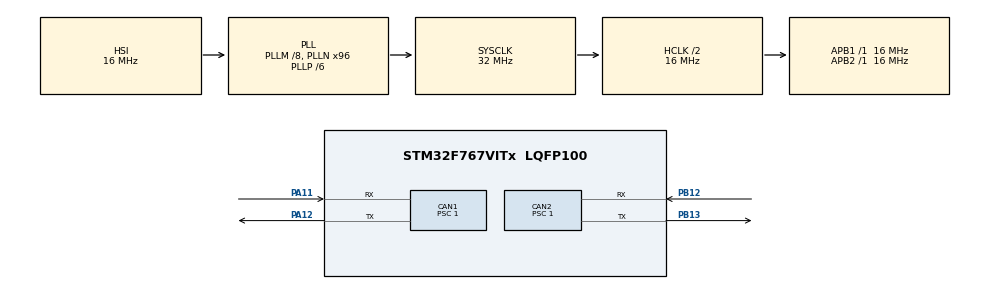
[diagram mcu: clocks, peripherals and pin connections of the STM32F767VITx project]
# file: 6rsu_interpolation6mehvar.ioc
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CAN1.BS1=CAN_BS1_14TQ
CAN1.CalculateBaudRate=1000000
CAN1.CalculateTimeBit=1000
CAN1.CalculateTimeQuantum=62.5
CAN1.Prescaler=1
CAN2.BS1=CAN_BS1_14TQ
CAN2.CalculateBaudRate=1000000
CAN2.CalculateTimeBit=1000
CAN2.CalculateTimeQuantum=62.5
CAN2.Prescaler=1
Mcu.Family=STM32F7
Mcu.Name=STM32F767VITx
Mcu.Package=LQFP100
NVIC.CAN1_RX0_IRQn=true\:0\:0\:false\:false\:true\:true\:true\:true
NVIC.CAN1_RX1_IRQn=true\:0\:0\:false\:false\:true\:true\:true\:true
NVIC.CAN1_SCE_IRQn=true\:0\:0\:false\:false\:true\:true\:true\:true
NVIC.CAN1_TX_IRQn=true\:0\:0\:false\:false\:true\:true\:true\:true
NVIC.CAN2_RX0_IRQn=true\:0\:0\:false\:false\:true\:true\:true\:true
NVIC.CAN2_RX1_IRQn=true\:0\:0\:false\:false\:true\:true\:true\:true
NVIC.CAN2_SCE_IRQn=true\:0\:0\:false\:false\:true\:true\:true\:true
NVIC.CAN2_TX_IRQn=true\:0\:0\:false\:false\:true\:true\:true\:true
NVIC.PriorityGroup=NVIC_PRIORITYGROUP_4
NVIC.TIM8_TRG_COM_TIM14_IRQn=true\:0\:0\:false\:false\:true\:true\:true\:true
PA11.Mode=CAN_Activate
PA11.Signal=CAN1_RX
PA12.Mode=CAN_Activate
PA12.Signal=CAN1_TX
PA13.Mode=Serial_Wire
PA13.Signal=SYS_JTMS-SWDIO
PA14.Mode=Serial_Wire
PA14.Signal=SYS_JTCK-SWCLK
PB12.Mode=CAN_Activate
PB12.Signal=CAN2_RX
PB13.Mode=CAN_Activate
PB13.Signal=CAN2_TX
PH0/OSC_IN.Mode=HSE-External-Oscillator
PH0/OSC_IN.Signal=RCC_OSC_IN
PH1/OSC_OUT.Mode=HSE-External-Oscillator
PH1/OSC_OUT.Signal=RCC_OSC_OUT
ProjectManager.HeapSize=0x200
ProjectManager.StackSize=0x400
ProjectManager.TargetToolchain=STM32CubeIDE
RCC.AHBCLKDivider=RCC_SYSCLK_DIV2
RCC.AHBFreq_Value=16000000
RCC.APB1Freq_Value=16000000
RCC.APB1TimFreq_Value=16000000
RCC.APB2Freq_Value=16000000
RCC.APB2TimFreq_Value=16000000
RCC.CortexFreq_Value=16000000
RCC.HCLKFreq_Value=16000000
RCC.HSE_VALUE=25000000
RCC.HSI_VALUE=16000000
RCC.LSE_VALUE=32768
RCC.PLLM=8
RCC.PLLN=96
RCC.PLLP=RCC_PLLP_DIV6
RCC.SYSCLKFreq_VALUE=32000000
RCC.SYSCLKSource=RCC_SYSCLKSOURCE_PLLCLK
RCC.USBFreq_Value=96000000
RCC.VCOOutputFreq_Value=192000000
TIM14.Period=999
TIM14.Prescaler=15
VP_TIM14_VS_ClockSourceINT.Mode=Enable_Timer
board=custom

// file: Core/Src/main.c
/* USER CODE BEGIN Header */
/**
  ******************************************************************************
  * @file           : main.c
  * @brief          : Main program body
  ******************************************************************************
  * @attention
  *
  * Copyright (c) 2024 STMicroelectronics.
  * All rights reserved.
  *
  * This software is licensed under terms that can be found in the LICENSE file
  * in the root directory of this software component.
  * If no LICENSE file comes with this software, it is provided AS-IS.
  *
  ******************************************************************************
  */
/* USER CODE END Header */
#include "main.h"

/* USER CODE BEGIN Includes */
#include "CO_app_STM32.h"
#include "CANopen.h"
#include "../CANopenNode/301/CO_SDOclient.h"
#include "../CANopenNode/301/CO_NMT_Heartbeat.h"
#include "../CANopenNode/301/CO_PDO.h"
#include "OD.h"
#include "math.h"

/* USER CODE END Includes */

CAN_HandleTypeDef hcan1;
CAN_HandleTypeDef hcan2;

TIM_HandleTypeDef htim14;

void SystemClock_Config(void);
static void MX_GPIO_Init(void);
static void MX_CAN1_Init(void);
static void MX_CAN2_Init(void);
static void MX_TIM14_Init(void);

/* USER CODE BEGIN 0 */
CO_SDO_abortCode_t read_SDO(CO_SDOclient_t *SDO_C, uint8_t nodeId,
                            uint16_t index, uint8_t subIndex,
                            uint8_t *buf, size_t bufSize, size_t *readSize)
{
    CO_SDO_return_t SDO_ret;

    // setup client (this can be skipped, if remote device don't change)
    SDO_ret = CO_SDOclient_setup(SDO_C,
                                 CO_CAN_ID_SDO_CLI + nodeId,
                                 CO_CAN_ID_SDO_SRV + nodeId,
                                 nodeId);
    if (SDO_ret != CO_SDO_RT_ok_communicationEnd) {
        return CO_SDO_AB_GENERAL;
    }

    // initiate upload
    SDO_ret = CO_SDOclientUploadInitiate(SDO_C, index, subIndex, 1000, false);
    if (SDO_ret != CO_SDO_RT_ok_communicationEnd) {
        return CO_SDO_AB_GENERAL;
    }

    // upload data
    do {
        uint32_t timeDifference_us = 10000;
        CO_SDO_abortCode_t abortCode = CO_SDO_AB_NONE;

        SDO_ret = CO_SDOclientUpload(SDO_C,
                                     timeDifference_us,
                                     false,
                                     &abortCode,
                                     NULL, NULL, NULL);
        if (SDO_ret < 0) {
            return abortCode;
        }

        HAL_Delay(1);
    } while(SDO_ret > 0);

    // copy data to the user buffer (for long data function must be called
    // several times inside the loop)
    *readSize = CO_SDOclientUploadBufRead(SDO_C, buf, bufSize);

    return CO_SDO_AB_NONE;
}

CO_SDO_abortCode_t write_SDO(CO_SDOclient_t *SDO_C, uint8_t nodeId,
                             uint16_t index, uint8_t subIndex,
                             uint8_t *data, size_t dataSize)
{
    CO_SDO_return_t SDO_ret;
    bool_t bufferPartial = false;

    // setup client (this can be skipped, if remote device is the same)
    SDO_ret = CO_SDOclient_setup(SDO_C,
                                 CO_CAN_ID_SDO_CLI + nodeId,
                                 CO_CAN_ID_SDO_SRV + nodeId,
                                 nodeId);
    if (SDO_ret != CO_SDO_RT_ok_communicationEnd) {
        return -1;
    }

    // initiate download
    SDO_ret = CO_SDOclientDownloadInitiate(SDO_C, index, subIndex,
                                           dataSize, 1000, false);
    if (SDO_ret != CO_SDO_RT_ok_communicationEnd) {
        return -1;
    }

    // fill data
    size_t nWritten = CO_SDOclientDownloadBufWrite(SDO_C, data, dataSize);
    if (nWritten < dataSize) {
        bufferPartial = true;
        // If SDO Fifo buffer is too small, data can be refilled in the loop.
    }

    //download data
    do {
        uint32_t timeDifference_us = 10000;
        CO_SDO_abortCode_t abortCode = CO_SDO_AB_NONE;

        SDO_ret = CO_SDOclientDownload(SDO_C,
                                       timeDifference_us,
                                       false,
                                       bufferPartial,
                                       &abortCode,
                                       NULL, NULL);
        if (SDO_ret < 0) {
            return abortCode;
        }

        HAL_Delay(1);
    } while(SDO_ret > 0);

    return CO_SDO_AB_NONE;
}

/* USER CODE END 0 */

int main(void)
{
  /* USER CODE BEGIN 1 */
	  int i=0;
	  int s = 4500000;
	  int16_t next;
	  int16_t prev;
	  int32_t xi;
  /* USER CODE END 1 */

  /* MCU Configuration--------------------------------------------------------*/

  /* Reset of all peripherals, Initializes the Flash interface and the Systick. */
  HAL_Init();

  /* Configure the system clock */
  SystemClock_Config();

  /* Initialize all configured peripherals */
  MX_GPIO_Init();
  MX_CAN1_Init();
  MX_CAN2_Init();
  MX_TIM14_Init();
  /* USER CODE BEGIN 2 */
  CANopenNodeSTM32 canopenNodeSTM32;
    canopenNodeSTM32.CANHandle = &hcan2;
    canopenNodeSTM32.HWInitFunction = MX_CAN2_Init;
    canopenNodeSTM32.timerHandle = &htim14;
    canopenNodeSTM32.desiredNodeID = 7;
    canopenNodeSTM32.baudrate = 1000;
    canopen_app_init(&canopenNodeSTM32);

    uint16_t tmp1 = 0x80;
    uint16_t tmp2 = 0x00;
    uint16_t tmp3 = 0x06;
    uint16_t tmp4 = 0x07;
    uint16_t tmp5 = 0x0F;

    int8_t interpolation_mode = 0x07;

    int16_t intrpolation_sub_mode_select = 0;

    uint8_t interpolation_time_unit = 10;
    int8_t interpolation_time_index = -3;

//control_word for node 1(Gearbox1)...............................................................

    write_SDO(canopenNodeSTM32.canOpenStack->SDOclient , 1, 0x6040, 00, &tmp1, 2);
    HAL_Delay(10);
    write_SDO(canopenNodeSTM32.canOpenStack->SDOclient , 1, 0x6040, 00, &tmp2, 2);
    HAL_Delay(10);
    write_SDO(canopenNodeSTM32.canOpenStack->SDOclient , 1, 0x6040, 00, &tmp3, 2);
    HAL_Delay(10);
    write_SDO(canopenNodeSTM32.canOpenStack->SDOclient , 1, 0x6040, 00, &tmp4, 2);
    HAL_Delay(10);
    write_SDO(canopenNodeSTM32.canOpenStack->SDOclient , 1, 0x6040, 00, &tmp5, 2);
    HAL_Delay(10);

    write_SDO(canopenNodeSTM32.canOpenStack->SDOclient , 1, 0x6060, 00, &interpolation_mode, 1);
    HAL_Delay(10);
    write_SDO(canopenNodeSTM32.canOpenStack->SDOclient , 1, 0x60C0, 00, &intrpolation_sub_mode_select, 2);
    HAL_Delay(10);
    write_SDO(canopenNodeSTM32.canOpenStack->SDOclient , 1, 0x60C2, 0x01, &interpolation_time_unit, 1);
    HAL_Delay(10);
    write_SDO(canopenNodeSTM32.canOpenStack->SDOclient , 1, 0x60C2, 0x02, &interpolation_time_index, 1);

    //control_word for node 2(Gearbox2)...............................................................

    write_SDO(canopenNodeSTM32.canOpenStack->SDOclient , 2, 0x6040, 00, &tmp1, 2);
    HAL_Delay(10);
    write_SDO(canopenNodeSTM32.canOpenStack->SDOclient , 2, 0x6040, 00, &tmp2, 2);
    HAL_Delay(10);
    write_SDO(canopenNodeSTM32.canOpenStack->SDOclient , 2, 0x6040, 00, &tmp3, 2);
    HAL_Delay(10);
    write_SDO(canopenNodeSTM32.canOpenStack->SDOclient , 2, 0x6040, 00, &tmp4, 2);
    HAL_Delay(10);
    write_SDO(canopenNodeSTM32.canOpenStack->SDOclient , 2, 0x6040, 00, &tmp5, 2);
    HAL_Delay(10);

    write_SDO(canopenNodeSTM32.canOpenStack->SDOclient , 2, 0x6060, 00, &interpolation_mode, 1);
    HAL_Delay(10);
    write_SDO(canopenNodeSTM32.canOpenStack->SDOclient , 2, 0x60C0, 00, &intrpolation_sub_mode_select, 2);
    HAL_Delay(10);
    write_SDO(canopenNodeSTM32.canOpenStack->SDOclient , 2, 0x60C2, 0x01, &interpolation_time_unit, 1);
    HAL_Delay(10);
    write_SDO(canopenNodeSTM32.canOpenStack->SDOclient , 2, 0x60C2, 0x02, &interpolation_time_index, 1);

    //control_word for node 3(Gearbox3)...............................................................

    write_SDO(canopenNodeSTM32.canOpenStack->SDOclient , 3, 0x6040, 00, &tmp1, 2);
    HAL_Delay(10);
    write_SDO(canopenNodeSTM32.canOpenStack->SDOclient , 3, 0x6040, 00, &tmp2, 2);
    HAL_Delay(10);
    write_SDO(canopenNodeSTM32.canOpenStack->SDOclient , 3, 0x6040, 00, &tmp3, 2);
    HAL_Delay(10);
    write_SDO(canopenNodeSTM32.canOpenStack->SDOclient , 3, 0x6040, 00, &tmp4, 2);
    HAL_Delay(10);
    write_SDO(canopenNodeSTM32.canOpenStack->SDOclient , 3, 0x6040, 00, &tmp5, 2);
    HAL_Delay(10);

    write_SDO(canopenNodeSTM32.canOpenStack->SDOclient , 3, 0x6060, 00, &interpolation_mode, 1);
    HAL_Delay(10);
    write_SDO(canopenNodeSTM32.canOpenStack->SDOclient , 3, 0x60C0, 00, &intrpolation_sub_mode_select, 2);
    HAL_Delay(10);
    write_SDO(canopenNodeSTM32.canOpenStack->SDOclient , 3, 0x60C2, 0x01, &interpolation_time_unit, 1);
    HAL_Delay(10);
    write_SDO(canopenNodeSTM32.canOpenStack->SDOclient , 3, 0x60C2, 0x02, &interpolation_time_index, 1);

    //control_word for node 4(Gearbox4)...............................................................

    write_SDO(canopenNodeSTM32.canOpenStack->SDOclient , 4, 0x6040, 00, &tmp1, 2);
    HAL_Delay(10);
    write_SDO(canopenNodeSTM32.canOpenStack->SDOclient , 4, 0x6040, 00, &tmp2, 2);
    HAL_Delay(10);
    write_SDO(canopenNodeSTM32.canOpenStack->SDOclient , 4, 0x6040, 00, &tmp3, 2);
    HAL_Delay(10);
    write_SDO(canopenNodeSTM32.canOpenStack->SDOclient , 4, 0x6040, 00, &tmp4, 2);
    HAL_Delay(10);
    write_SDO(canopenNodeSTM32.canOpenStack->SDOclient , 4, 0x6040, 00, &tmp5, 2);
    HAL_Delay(10);

    write_SDO(canopenNodeSTM32.canOpenStack->SDOclient , 4, 0x6060, 00, &interpolation_mode, 1);
    HAL_Delay(10);
    write_SDO(canopenNodeSTM32.canOpenStack->SDOclient , 4, 0x60C0, 00, &intrpolation_sub_mode_select, 2);
    HAL_Delay(10);
    write_SDO(canopenNodeSTM32.canOpenStack->SDOclient , 4, 0x60C2, 0x01, &interpolation_time_unit, 1);
    HAL_Delay(10);
    write_SDO(canopenNodeSTM32.canOpenStack->SDOclient , 4, 0x60C2, 0x02, &interpolation_time_index, 1);

    //control_word for node 5(Gearbox5)...............................................................

    write_SDO(canopenNodeSTM32.canOpenStack->SDOclient , 5, 0x6040, 00, &tmp1, 2);
    HAL_Delay(10);
    write_SDO(canopenNodeSTM32.canOpenStack->SDOclient , 5, 0x6040, 00, &tmp2, 2);
    HAL_Delay(10);
    write_SDO(canopenNodeSTM32.canOpenStack->SDOclient , 5, 0x6040, 00, &tmp3, 2);
    HAL_Delay(10);
    write_SDO(canopenNodeSTM32.canOpenStack->SDOclient , 5, 0x6040, 00, &tmp4, 2);
    HAL_Delay(10);
    write_SDO(canopenNodeSTM32.canOpenStack->SDOclient , 5, 0x6040, 00, &tmp5, 2);
    HAL_Delay(10);

    write_SDO(canopenNodeSTM32.canOpenStack->SDOclient , 5, 0x6060, 00, &interpolation_mode, 1);
    HAL_Delay(10);
    write_SDO(canopenNodeSTM32.canOpenStack->SDOclient , 5, 0x60C0, 00, &intrpolation_sub_mode_select, 2);
    HAL_Delay(10);
    write_SDO(canopenNodeSTM32.canOpenStack->SDOclient , 5, 0x60C2, 0x01, &interpolation_time_unit, 1);
    HAL_Delay(10);
    write_SDO(canopenNodeSTM32.canOpenStack->SDOclient , 5, 0x60C2, 0x02, &interpolation_time_index, 1);

    //control_word for node 6(Gearbox6)...............................................................

    write_SDO(canopenNodeSTM32.canOpenStack->SDOclient , 6, 0x6040, 00, &tmp1, 2);
    HAL_Delay(10);
    write_SDO(canopenNodeSTM32.canOpenStack->SDOclient , 6, 0x6040, 00, &tmp2, 2);
    HAL_Delay(10);
    write_SDO(canopenNodeSTM32.canOpenStack->SDOclient , 6, 0x6040, 00, &tmp3, 2);
    HAL_Delay(10);
    write_SDO(canopenNodeSTM32.canOpenStack->SDOclient , 6, 0x6040, 00, &tmp4, 2);
    HAL_Delay(10);
    write_SDO(canopenNodeSTM32.canOpenStack->SDOclient , 6, 0x6040, 00, &tmp5, 2);
    HAL_Delay(10);

    write_SDO(canopenNodeSTM32.canOpenStack->SDOclient , 6, 0x6060, 00, &interpolation_mode, 1);
    HAL_Delay(10);
    write_SDO(canopenNodeSTM32.canOpenStack->SDOclient , 6, 0x60C0, 00, &intrpolation_sub_mode_select, 2);
    HAL_Delay(10);
    write_SDO(canopenNodeSTM32.canOpenStack->SDOclient , 6, 0x60C2, 0x01, &interpolation_time_unit, 1);
    HAL_Delay(10);
    write_SDO(canopenNodeSTM32.canOpenStack->SDOclient , 6, 0x60C2, 0x02, &interpolation_time_index, 1);

//node1................................................................................
    uint32_t CW1 ;
    uint8_t CW2 ;
    uint8_t CW3 ;
	uint32_t CW4 ;
	uint32_t CW5 ;
	uint8_t CW6 ;
	uint32_t CW7 ;

//interpolation_Tpdo1_Gearbox1........................................................................

			CW1 = 0x80000201;
			write_SDO(canopenNodeSTM32.canOpenStack->SDOclient , 1, 0x1400, 0x01, &CW1, 4);
			HAL_Delay(10);

			CW2 = 0xFF;
			write_SDO(canopenNodeSTM32.canOpenStack->SDOclient , 1, 0x1400, 0x02, &CW2, 1);
			HAL_Delay(10);

			CW3 = 0x00;
			write_SDO(canopenNodeSTM32.canOpenStack->SDOclient , 1, 0x1600, 0x00, &CW3, 1);
			HAL_Delay(10);

			CW4 = 0x60C10120;
			write_SDO(canopenNodeSTM32.canOpenStack->SDOclient , 1, 0x1600, 0x01, &CW4, 4);
			HAL_Delay(10);

			CW5 = 0x60C10210;
			write_SDO(canopenNodeSTM32.canOpenStack->SDOclient , 1, 0x1600, 0x02, &CW5, 4);
			HAL_Delay(10);

			CW6 = 2;
			write_SDO(canopenNodeSTM32.canOpenStack->SDOclient , 1, 0x1600, 0x00, &CW6, 1);
			HAL_Delay(10);

			CW7 = 0x201;
			write_SDO(canopenNodeSTM32.canOpenStack->SDOclient , 1, 0x1400, 0x01, &CW7, 4);
			HAL_Delay(10);

//node2...............................................................................

//interpolation_Tpdo2_Gearbox2..........................................................................

			CW1 = 0x80000202;
			write_SDO(canopenNodeSTM32.canOpenStack->SDOclient , 2, 0x1400, 0x01, &CW1, 4);
			HAL_Delay(10);

			CW2 = 0xFF;
			write_SDO(canopenNodeSTM32.canOpenStack->SDOclient , 2, 0x1400, 0x02, &CW2, 1);
			HAL_Delay(10);

			CW3 = 0x00;
			write_SDO(canopenNodeSTM32.canOpenStack->SDOclient , 2, 0x1600, 0x00, &CW3, 1);
			HAL_Delay(10);

			CW4 = 0x60C10120;
			write_SDO(canopenNodeSTM32.canOpenStack->SDOclient , 2, 0x1600, 0x01, &CW4, 4);
			HAL_Delay(10);

			CW5 = 0x60C10210;
			write_SDO(canopenNodeSTM32.canOpenStack->SDOclient , 2, 0x1600, 0x02, &CW5, 4);
			HAL_Delay(10);

			CW6 = 2;
			write_SDO(canopenNodeSTM32.canOpenStack->SDOclient , 2, 0x1600, 0x00, &CW6, 1);
			HAL_Delay(10);

			CW7 = 0x202;
			write_SDO(canopenNodeSTM32.canOpenStack->SDOclient , 2, 0x1400, 0x01, &CW7, 4);
			HAL_Delay(10);

//node3.................................................................................

//interpolation_Tpdo3_Gearbox3.............................................................

		   CW1 = 0x80000203;
		   write_SDO(canopenNodeSTM32.canOpenStack->SDOclient , 3, 0x1400, 0x01, &CW1, 4);
		   HAL_Delay(10);

		   CW2 = 0xFF;
		   write_SDO(canopenNodeSTM32.canOpenStack->SDOclient , 3, 0x1400, 0x02, &CW2, 1);
		   HAL_Delay(10);

		   CW3 = 0x00;
		   write_SDO(canopenNodeSTM32.canOpenStack->SDOclient , 3, 0x1600, 0x00, &CW3, 1);
		   HAL_Delay(10);

		   CW4 = 0x60C10120;
		   write_SDO(canopenNodeSTM32.canOpenStack->SDOclient , 3, 0x1600, 0x01, &CW4, 4);
		   HAL_Delay(10);

		   CW5 = 0x60C10210;
		   write_SDO(canopenNodeSTM32.canOpenStack->SDOclient , 3, 0x1600, 0x02, &CW5, 4);
		   HAL_Delay(10);

		   CW6 = 2;
		   write_SDO(canopenNodeSTM32.canOpenStack->SDOclient , 3, 0x1600, 0x00, &CW6, 1);
		   HAL_Delay(10);

		   CW7 = 0x203;
		   write_SDO(canopenNodeSTM32.canOpenStack->SDOclient , 3, 0x1400, 0x01, &CW7, 4);
		   HAL_Delay(10);

//node4.................................................................................

//interpolation_Tpdo3_Gearbox4.............................................................

		   CW1 = 0x80000204;
		   write_SDO(canopenNodeSTM32.canOpenStack->SDOclient , 4, 0x1400, 0x01, &CW1, 4);
		   HAL_Delay(10);

		   CW2 = 0xFF;
		   write_SDO(canopenNodeSTM32.canOpenStack->SDOclient , 4, 0x1400, 0x02, &CW2, 1);
		   HAL_Delay(10);

		   CW3 = 0x00;
		   write_SDO(canopenNodeSTM32.canOpenStack->SDOclient , 4, 0x1600, 0x00, &CW3, 1);
		   HAL_Delay(10);

		   CW4 = 0x60C10120;
		   write_SDO(canopenNodeSTM32.canOpenStack->SDOclient , 4, 0x1600, 0x01, &CW4, 4);
		   HAL_Delay(10);

		   CW5 = 0x60C10210;
		   write_SDO(canopenNodeSTM32.canOpenStack->SDOclient , 4, 0x1600, 0x02, &CW5, 4);
		   HAL_Delay(10);

		   CW6 = 2;
		   write_SDO(canopenNodeSTM32.canOpenStack->SDOclient , 4, 0x1600, 0x00, &CW6, 1);
		   HAL_Delay(10);

		   CW7 = 0x204;
		   write_SDO(canopenNodeSTM32.canOpenStack->SDOclient , 4, 0x1400, 0x01, &CW7, 4);
		   HAL_Delay(10);

//node5.................................................................................

//interpolation_Tpdo3_Gearbox5.............................................................

		   CW1 = 0x80000205;
		   write_SDO(canopenNodeSTM32.canOpenStack->SDOclient , 5, 0x1400, 0x01, &CW1, 4);
		   HAL_Delay(10);

		   CW2 = 0xFF;
		   write_SDO(canopenNodeSTM32.canOpenStack->SDOclient , 5, 0x1400, 0x02, &CW2, 1);
		   HAL_Delay(10);

		   CW3 = 0x00;
		   write_SDO(canopenNodeSTM32.canOpenStack->SDOclient , 5, 0x1600, 0x00, &CW3, 1);
		   HAL_Delay(10);

		   CW4 = 0x60C10120;
		   write_SDO(canopenNodeSTM32.canOpenStack->SDOclient , 5, 0x1600, 0x01, &CW4, 4);
		   HAL_Delay(10);

		   CW5 = 0x60C10210;
		   write_SDO(canopenNodeSTM32.canOpenStack->SDOclient , 5, 0x1600, 0x02, &CW5, 4);
		   HAL_Delay(10);

		   CW6 = 2;
		   write_SDO(canopenNodeSTM32.canOpenStack->SDOclient , 5, 0x1600, 0x00, &CW6, 1);
		   HAL_Delay(10);

		   CW7 = 0x205;
		   write_SDO(canopenNodeSTM32.canOpenStack->SDOclient , 5, 0x1400, 0x01, &CW7, 4);
		   HAL_Delay(10);
//node6.................................................................................

//interpolation_Tpdo3_Gearbox6.............................................................

		   CW1 = 0x80000206;
		   write_SDO(canopenNodeSTM32.canOpenStack->SDOclient , 6, 0x1400, 0x01, &CW1, 4);
		   HAL_Delay(10);

		   CW2 = 0xFF;
		   write_SDO(canopenNodeSTM32.canOpenStack->SDOclient , 6, 0x1400, 0x02, &CW2, 1);
		   HAL_Delay(10);

		   CW3 = 0x00;
		   write_SDO(canopenNodeSTM32.canOpenStack->SDOclient , 6, 0x1600, 0x00, &CW3, 1);
		   HAL_Delay(10);

		   CW4 = 0x60C10120;
		   write_SDO(canopenNodeSTM32.canOpenStack->SDOclient , 6, 0x1600, 0x01, &CW4, 4);
		   HAL_Delay(10);

		   CW5 = 0x60C10210;
		   write_SDO(canopenNodeSTM32.canOpenStack->SDOclient , 6, 0x1600, 0x02, &CW5, 4);
		   HAL_Delay(10);

		   CW6 = 2;
		   write_SDO(canopenNodeSTM32.canOpenStack->SDOclient , 6, 0x1600, 0x00, &CW6, 1);
		   HAL_Delay(10);

		   CW7 = 0x206;
		   write_SDO(canopenNodeSTM32.canOpenStack->SDOclient , 6, 0x1400, 0x01, &CW7, 4);
		   HAL_Delay(10);

//......................................................................................
//    targetVelocity = 950;
    CO_NMT_command_t CO_NMT_OPERATIONAL;
    CO_NMT_sendCommand(canopenNodeSTM32.canOpenStack->NMT, CO_NMT_ENTER_OPERATIONAL, 1);
    HAL_Delay(100);
    CO_NMT_sendCommand(canopenNodeSTM32.canOpenStack->NMT, CO_NMT_ENTER_OPERATIONAL, 2);
    HAL_Delay(100);
    CO_NMT_sendCommand(canopenNodeSTM32.canOpenStack->NMT, CO_NMT_ENTER_OPERATIONAL, 3);
    HAL_Delay(100);
    CO_NMT_sendCommand(canopenNodeSTM32.canOpenStack->NMT, CO_NMT_ENTER_OPERATIONAL, 4);
    HAL_Delay(100);
    CO_NMT_sendCommand(canopenNodeSTM32.canOpenStack->NMT, CO_NMT_ENTER_OPERATIONAL, 5);
    HAL_Delay(100);
    CO_NMT_sendCommand(canopenNodeSTM32.canOpenStack->NMT, CO_NMT_ENTER_OPERATIONAL, 6);
    HAL_Delay(100);

  /* USER CODE END 2 */

  /* Infinite loop */
  /* USER CODE BEGIN WHILE */

  while (1)
  {

	  canopen_app_process();
	  HAL_Delay(0.5);
// SIN or COS motion ................................................................................................................
	  next = s * sin((i+1)/1000.0);
	  prev = s * sin((i-1)/1000.0);
	  xi = s * sin(i/1000.0);
	  i = i + 1;

//interpolation for node1(Gearbox1).....................................................................................

	  OD_PERSIST_COMM.x60C1_interpolation_data_record_1.subObject_1 = xi;
	  OD_PERSIST_COMM.x60C1_interpolation_data_record_1.subObject_2 = (next - prev)/2;

//interpolation for node2(Gearbox2).....................................................................................

	  OD_PERSIST_COMM.x70C1_interpolation_data_record_2.subObject_1 = xi;
	  OD_PERSIST_COMM.x70C1_interpolation_data_record_2.subObject_2 = (next - prev)/2;

//interpolation for node3(Gearbox3).....................................................................................

	  OD_PERSIST_COMM.x80C1_interpolation_data_record_3.subObject_1 = xi;
	  OD_PERSIST_COMM.x80C1_interpolation_data_record_3.subObject_2 = (next - prev)/2;

//interpolation for node4(Gearbox4).....................................................................................

	  OD_PERSIST_COMM.x90C1_interpolation_data_record_4.subObject_1 = xi;
	  OD_PERSIST_COMM.x90C1_interpolation_data_record_4.subObject_2 = (next - prev)/2;

//interpolation for node5(Gearbox5).....................................................................................

	  OD_PERSIST_COMM.x91C1_interpolation_data_record_5.subObject_1 = xi;
	  OD_PERSIST_COMM.x91C1_interpolation_data_record_5.subObject_2 = (next - prev)/2;

//interpolation for node6(Gearbox6).....................................................................................

	  OD_PERSIST_COMM.x92C1_interpolation_data_record_6.subObject_1 = xi;
	  OD_PERSIST_COMM.x92C1_interpolation_data_record_6.subObject_2 = (next - prev)/2;

    /* USER CODE END WHILE */

  }
}

void SystemClock_Config(void)
{
  RCC_OscInitTypeDef RCC_OscInitStruct = {0};
  RCC_ClkInitTypeDef RCC_ClkInitStruct = {0};

  /** Configure the main internal regulator output voltage
  */
  __HAL_RCC_PWR_CLK_ENABLE();
  __HAL_PWR_VOLTAGESCALING_CONFIG(PWR_REGULATOR_VOLTAGE_SCALE3);

  /** Initializes the RCC Oscillators according to the specified parameters
  * in the RCC_OscInitTypeDef structure.
  */
  RCC_OscInitStruct.OscillatorType = RCC_OSCILLATORTYPE_HSI;
  RCC_OscInitStruct.HSIState = RCC_HSI_ON;
  RCC_OscInitStruct.HSICalibrationValue = RCC_HSICALIBRATION_DEFAULT;
  RCC_OscInitStruct.PLL.PLLState = RCC_PLL_ON;
  RCC_OscInitStruct.PLL.PLLSource = RCC_PLLSOURCE_HSI;
  RCC_OscInitStruct.PLL.PLLM = 8;
  RCC_OscInitStruct.PLL.PLLN = 96;
  RCC_OscInitStruct.PLL.PLLP = RCC_PLLP_DIV6;
  RCC_OscInitStruct.PLL.PLLQ = 2;
  RCC_OscInitStruct.PLL.PLLR = 2;
  if (HAL_RCC_OscConfig(&RCC_OscInitStruct) != HAL_OK)
  {
    Error_Handler();
  }

  /** Initializes the CPU, AHB and APB buses clocks
  */
  RCC_ClkInitStruct.ClockType = RCC_CLOCKTYPE_HCLK|RCC_CLOCKTYPE_SYSCLK
                              |RCC_CLOCKTYPE_PCLK1|RCC_CLOCKTYPE_PCLK2;
  RCC_ClkInitStruct.SYSCLKSource = RCC_SYSCLKSOURCE_PLLCLK;
  RCC_ClkInitStruct.AHBCLKDivider = RCC_SYSCLK_DIV2;
  RCC_ClkInitStruct.APB1CLKDivider = RCC_HCLK_DIV1;
  RCC_ClkInitStruct.APB2CLKDivider = RCC_HCLK_DIV1;

  if (HAL_RCC_ClockConfig(&RCC_ClkInitStruct, FLASH_LATENCY_0) != HAL_OK)
  {
    Error_Handler();
  }
}

static void MX_CAN1_Init(void)
{

  hcan1.Instance = CAN1;
  hcan1.Init.Prescaler = 1;
  hcan1.Init.Mode = CAN_MODE_NORMAL;
  hcan1.Init.SyncJumpWidth = CAN_SJW_1TQ;
  hcan1.Init.TimeSeg1 = CAN_BS1_14TQ;
  hcan1.Init.TimeSeg2 = CAN_BS2_1TQ;
  hcan1.Init.TimeTriggeredMode = DISABLE;
  hcan1.Init.AutoBusOff = DISABLE;
  hcan1.Init.AutoWakeUp = DISABLE;
  hcan1.Init.AutoRetransmission = DISABLE;
  hcan1.Init.ReceiveFifoLocked = DISABLE;
  hcan1.Init.TransmitFifoPriority = DISABLE;
  if (HAL_CAN_Init(&hcan1) != HAL_OK)
  {
    Error_Handler();
  }

}

static void MX_CAN2_Init(void)
{

  hcan2.Instance = CAN2;
  hcan2.Init.Prescaler = 1;
  hcan2.Init.Mode = CAN_MODE_NORMAL;
  hcan2.Init.SyncJumpWidth = CAN_SJW_1TQ;
  hcan2.Init.TimeSeg1 = CAN_BS1_14TQ;
  hcan2.Init.TimeSeg2 = CAN_BS2_1TQ;
  hcan2.Init.TimeTriggeredMode = DISABLE;
  hcan2.Init.AutoBusOff = DISABLE;
  hcan2.Init.AutoWakeUp = DISABLE;
  hcan2.Init.AutoRetransmission = DISABLE;
  hcan2.Init.ReceiveFifoLocked = DISABLE;
  hcan2.Init.TransmitFifoPriority = DISABLE;
  if (HAL_CAN_Init(&hcan2) != HAL_OK)
  {
    Error_Handler();
  }

}

static void MX_TIM14_Init(void)
{

  htim14.Instance = TIM14;
  htim14.Init.Prescaler = 15;
  htim14.Init.CounterMode = TIM_COUNTERMODE_UP;
  htim14.Init.Period = 999;
  htim14.Init.ClockDivision = TIM_CLOCKDIVISION_DIV1;
  htim14.Init.AutoReloadPreload = TIM_AUTORELOAD_PRELOAD_DISABLE;
  if (HAL_TIM_Base_Init(&htim14) != HAL_OK)
  {
    Error_Handler();
  }

}

static void MX_GPIO_Init(void)
{

  /* GPIO Ports Clock Enable */
  __HAL_RCC_GPIOH_CLK_ENABLE();
  __HAL_RCC_GPIOB_CLK_ENABLE();
  __HAL_RCC_GPIOA_CLK_ENABLE();

}

void Error_Handler(void)
{
  __disable_irq();
  while (1)
  {
  }
}
